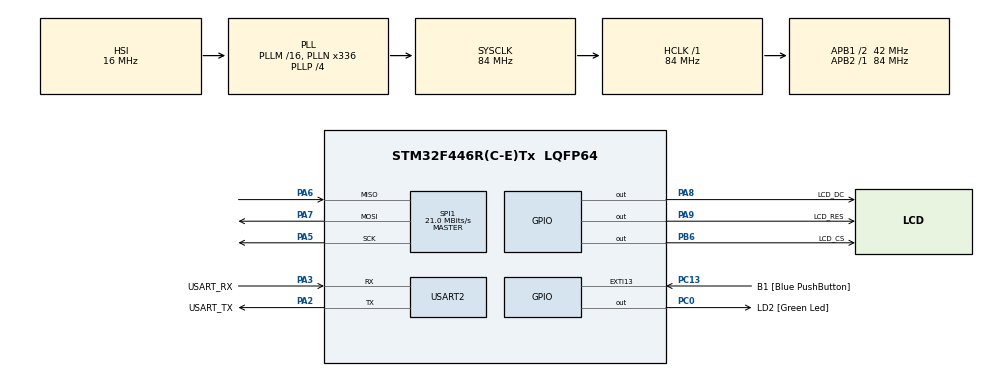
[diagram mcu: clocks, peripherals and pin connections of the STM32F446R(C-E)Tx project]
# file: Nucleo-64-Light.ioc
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Dma.Request0=SPI1_TX
Dma.SPI1_TX.0.Direction=DMA_MEMORY_TO_PERIPH
Dma.SPI1_TX.0.FIFOMode=DMA_FIFOMODE_DISABLE
Dma.SPI1_TX.0.Instance=DMA2_Stream3
Dma.SPI1_TX.0.MemDataAlignment=DMA_MDATAALIGN_BYTE
Dma.SPI1_TX.0.MemInc=DMA_MINC_ENABLE
Dma.SPI1_TX.0.Mode=DMA_NORMAL
Dma.SPI1_TX.0.PeriphDataAlignment=DMA_PDATAALIGN_BYTE
Dma.SPI1_TX.0.PeriphInc=DMA_PINC_DISABLE
Dma.SPI1_TX.0.Priority=DMA_PRIORITY_LOW
Mcu.Family=STM32F4
Mcu.Name=STM32F446R(C-E)Tx
Mcu.Package=LQFP64
NVIC.DMA2_Stream3_IRQn=true\:0\:0\:false\:false\:true\:false\:true\:true
NVIC.PriorityGroup=NVIC_PRIORITYGROUP_0
PA13.GPIO_Label=TMS
PA13.Mode=Serial_Wire
PA13.Signal=SYS_JTMS-SWDIO
PA14.GPIO_Label=TCK
PA14.Mode=Serial_Wire
PA14.Signal=SYS_JTCK-SWCLK
PA2.GPIO_Label=USART_TX
PA2.Mode=Asynchronous
PA2.Signal=USART2_TX
PA3.GPIO_Label=USART_RX
PA3.Mode=Asynchronous
PA3.Signal=USART2_RX
PA5.Mode=Full_Duplex_Master
PA5.Signal=SPI1_SCK
PA6.Mode=Full_Duplex_Master
PA6.Signal=SPI1_MISO
PA7.Mode=Full_Duplex_Master
PA7.Signal=SPI1_MOSI
PA8.GPIO_Label=LCD_DC
PA8.Signal=GPIO_Output
PA9.GPIO_Label=LCD_RES
PA9.Signal=GPIO_Output
PB3.GPIO_Label=SWO
PB3.Signal=SYS_JTDO-SWO
PB6.GPIO_Label=LCD_CS
PB6.Signal=GPIO_Output
PC0.GPIO_Label=LD2 [Green Led]
PC0.Signal=GPIO_Output
PC13.GPIO_Label=B1 [Blue PushButton]
PC13.GPIO_ModeDefaultEXTI=GPIO_MODE_IT_FALLING
PC13.Signal=GPXTI13
PC14-OSC32_IN.Mode=LSE-External-Oscillator
PC14-OSC32_IN.Signal=RCC_OSC32_IN
PC15-OSC32_OUT.Mode=LSE-External-Oscillator
PC15-OSC32_OUT.Signal=RCC_OSC32_OUT
PH0-OSC_IN.Mode=HSE-External-Oscillator
PH0-OSC_IN.Signal=RCC_OSC_IN
PH1-OSC_OUT.Mode=HSE-External-Oscillator
PH1-OSC_OUT.Signal=RCC_OSC_OUT
ProjectManager.HeapSize=0x200
ProjectManager.StackSize=0x400
ProjectManager.TargetToolchain=Makefile
RCC.48MHZClocksFreq_Value=84000000
RCC.AHBFreq_Value=84000000
RCC.APB1CLKDivider=RCC_HCLK_DIV2
RCC.APB1Freq_Value=42000000
RCC.APB1TimFreq_Value=84000000
RCC.APB2Freq_Value=84000000
RCC.APB2TimFreq_Value=84000000
RCC.CortexFreq_Value=84000000
RCC.FLatency-AdvancedSettings=FLASH_LATENCY_2
RCC.HCLKFreq_Value=84000000
RCC.HSE_VALUE=8000000
RCC.HSI_VALUE=16000000
RCC.PLLN=336
RCC.PLLP=RCC_PLLP_DIV4
RCC.SYSCLKFreq_VALUE=84000000
RCC.SYSCLKSource=RCC_SYSCLKSOURCE_PLLCLK
RCC.USBFreq_Value=168000000
RCC.VCOOutputFreq_Value=336000000
SPI1.BaudRatePrescaler=SPI_BAUDRATEPRESCALER_4
SPI1.CalculateBaudRate=21.0 MBits/s
SPI1.Direction=SPI_DIRECTION_2LINES
SPI1.Mode=SPI_MODE_MASTER
SPI1.VirtualType=VM_MASTER
USART2.VirtualMode=VM_ASYNC
board=NUCLEO-F446RE

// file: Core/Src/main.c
/* USER CODE BEGIN Header */
/**
  ******************************************************************************
  * @file           : main.c
  * @brief          : Main program body
  ******************************************************************************
  * @attention
  *
  * Copyright (c) 2026 STMicroelectronics.
  * All rights reserved.
  *
  * This software is licensed under terms that can be found in the LICENSE file
  * in the root directory of this software component.
  * If no LICENSE file comes with this software, it is provided AS-IS.
  *
  ******************************************************************************
  */
/* USER CODE END Header */
#include "main.h"

/* USER CODE BEGIN Includes */
#include "stm32f4xx_hal.h"
#include "lvgl.h"
#include "ili9341.h"
#include "fonts.h"
#include "ili9341_touch.h"
#include <stdio.h>
#include <string.h>

#include "screens/screen_home.h"

/* USER CODE END Includes */

/* USER CODE BEGIN PTD */

#define XPSR_INITIAL 0x01000000
#define STACK_SIZE 256  // Erhöht auf 1024 Bytes für printf-Sicherheit

/* Private function prototypes -----------------------------------------------*/
void SystemClock_Config(void);
static void MX_GPIO_Init(void);
static void MX_USART2_UART_Init(void);

extern void Start_OS(void);

TCB_t tasks[4];
TCB_t *currentTCB = NULL;
volatile uint8_t lvgl_is_initialized = 0;

/* Stacks mit 8-Byte Alignment */
uint32_t stackA[STACK_SIZE] __attribute__((aligned(8)));
uint32_t stackB[STACK_SIZE] __attribute__((aligned(8)));
static uint32_t stackIdle[128] __attribute__((aligned(8)));
static uint32_t stackDisplay[1024] __attribute__((aligned(8)));

/* --- LVGL Display Variablen --- */
static lv_disp_draw_buf_t draw_buf;
static lv_color_t buf[320 * 10]; // Puffer für 10 Zeilen des Displays (ca. 6.4 KB RAM)

/* USER CODE END PTD */

SPI_HandleTypeDef hspi1;
DMA_HandleTypeDef hdma_spi1_tx;

UART_HandleTypeDef huart2;

/* USER CODE BEGIN PV */

void OS_Delay(uint32_t ticks)
{
  __disable_irq();
  currentTCB->sleep_ticks = ticks;
  __enable_irq();

  SCB->ICSR |= SCB_ICSR_PENDSVSET_Msk;
}

void my_flush_cb(lv_disp_drv_t * disp_drv, const lv_area_t * area, lv_color_t * color_p) {
    // 1. Berechne Breite und Höhe des Bereichs
    uint16_t width = (area->x2 - area->x1 + 1);
    uint16_t height = (area->y2 - area->y1 + 1);

    // 2. Nutze die vorhandene Treiber-Funktion
    // Diese setzt das Fenster UND schickt die Daten via SPI
    ILI9341_DrawImage(area->x1, area->y1, width, height, (const uint16_t *)color_p);

    // 3. LVGL mitteilen, dass das Zeichnen fertig ist
    lv_disp_flush_ready(disp_drv);
}

static void SPI1_SetSpeed(uint32_t prescaler)
{
    /* SPI kurz deaktivieren, Prescaler ändern, wieder aktivieren */
    __HAL_SPI_DISABLE(&hspi1);
    hspi1.Instance->CR1 = (hspi1.Instance->CR1 & ~SPI_CR1_BR_Msk) | prescaler;
    __HAL_SPI_ENABLE(&hspi1);
}

void touch_lvgl_read(lv_indev_drv_t *drv, lv_indev_data_t *data)
{
    (void)drv;
    uint16_t x, y;

    /* Auf ~650 Kbit/s runterschalten (Prescaler 128 → 84MHz/128 = 656 Kbit/s) */
    SPI1_SetSpeed(SPI_CR1_BR_2 | SPI_CR1_BR_0); /* 0b111 = /256 → ~328 Kbit */

    if (ILI9341_TouchGetCoordinates(&x, &y)) {
        data->point.x = x;
        data->point.y = y;
        data->state   = LV_INDEV_STATE_PRESSED;

    } else {
        data->state = LV_INDEV_STATE_RELEASED;
    }

    /* Zurück auf Display-Geschwindigkeit (Prescaler 4 → 21 Mbit/s) */
    SPI1_SetSpeed(SPI_CR1_BR_0); /* 0b001 = /4 */
}

void TaskA(void);
void TaskB(void);
void Task_Idle(void) {
  while(1){
    __asm("WFI"); //go to power save mode
  }
}
void Task_Display(void){

    lv_disp_draw_buf_init(&draw_buf, buf, NULL, 320 * 10);

  // 3. Display-Treiber konfigurieren
    static lv_disp_drv_t disp_drv;          /* Statisch, da LVGL den Zeiger behält */
    lv_disp_drv_init(&disp_drv);            /* Basis-Werte setzen */
    disp_drv.draw_buf = &draw_buf;          /* Den Puffer zuweisen */
    disp_drv.flush_cb = my_flush_cb;        /* Deine SPI-Sende-Funktion */
    disp_drv.hor_res = 240;                 /* Breite deines ILI9341 */
    disp_drv.ver_res = 320;                 /* Höhe deines ILI9341 */

    lv_disp_drv_register(&disp_drv);        /* Den Treiber im System anmelden */

    static lv_indev_drv_t indev_drv;
    lv_indev_drv_init(&indev_drv);
    indev_drv.type    = LV_INDEV_TYPE_POINTER;
    indev_drv.read_cb = touch_lvgl_read;
    lv_indev_drv_register(&indev_drv);

    screen_home_init();

  while(1){
    lv_timer_handler();
    OS_Delay(5);
  }
}

/* --- Die saubere Prepare-Methode --- */
uint32_t* Prepare_Task_Stack(uint32_t *stack_top, void (*task_func)(void)) {
    // 1. Hardware Frame (wird vom PendSV-Handler automatisch gepoppt)
    stack_top[-1] = XPSR_INITIAL;                          // xPSR (Thumb-Bit)
    stack_top[-2] = ((uint32_t)task_func) | 0x01;        // PC (Task-Einstieg)
    stack_top[-3] = 0xFFFFFFFD;                          // LR (Wichtig für PendSV)
    stack_top[-4] = 0;                                   // R12
    stack_top[-5] = 0;                                   // R3
    stack_top[-6] = 0;                                   // R2
    stack_top[-7] = 0;                                   // R1
    stack_top[-8] = 0;                                   // R0

    // 2. Software Frame (wird von unserem Assembler-Code gepoppt)
    for(int i = -9; i >= -16; i--) {
        stack_top[i] = 0;                                // R11 bis R4
    }

    return &stack_top[-16]; // Zeiger auf R4 zurückgeben
}

void TaskSheduler(void) {
    int next_task = -1;
    int current_index = (currentTCB - &tasks[0]);

    for(int i = 1; i <=4; i++){
      int index = (current_index + i) % 4;
      if(tasks[index].sleep_ticks == 0) {
        next_task = index;
        break;
      }
    }

    if(next_task != -1) {
      currentTCB = &tasks[next_task];
    }
}

/* USER CODE END PV */

void SystemClock_Config(void);
static void MX_GPIO_Init(void);
static void MX_DMA_Init(void);
static void MX_USART2_UART_Init(void);
static void MX_SPI1_Init(void);

int main(void)
{

  /* USER CODE BEGIN 1 */
  /* FPU HARDWARE ABSCHALTEN */
  //SCB->CPACR &= ~((3UL << 10*2)|(3UL << 11*2));
  /* USER CODE END 1 */

  /* MCU Configuration--------------------------------------------------------*/

  /* Reset of all peripherals, Initializes the Flash interface and the Systick. */
  HAL_Init();

  /* Configure the system clock */
  SystemClock_Config();

  /* Initialize all configured peripherals */
  MX_GPIO_Init();
  MX_DMA_Init();
  MX_USART2_UART_Init();
  MX_SPI1_Init();
  /* USER CODE BEGIN 2 */
  ILI9341_Init();

  HAL_GPIO_WritePin(GPIOB, GPIO_PIN_6, GPIO_PIN_SET); // Display CS inaktiv
HAL_GPIO_WritePin(GPIOB, GPIO_PIN_7, GPIO_PIN_SET); // Touch CS inaktiv

  HAL_SYSTICK_Config(SystemCoreClock / 1000);

  HAL_NVIC_SetPriority(SysTick_IRQn, 0, 0);
  HAL_NVIC_SetPriority(PendSV_IRQn, 15, 0);

  tasks[0].sp = Prepare_Task_Stack(&stackA[STACK_SIZE], TaskA);
  tasks[1].sp = Prepare_Task_Stack(&stackB[STACK_SIZE], TaskB);
  tasks[2].sp = Prepare_Task_Stack(&stackIdle[128], Task_Idle);
  tasks[2].sleep_ticks = 0;

  tasks[3].sp = Prepare_Task_Stack(&stackDisplay[1024], Task_Display);
  tasks[3].sleep_ticks = 0;

  currentTCB = &tasks[0];

  lv_init();
  lvgl_is_initialized = 1;
  Start_OS();

  /* USER CODE END 2 */

  /* Infinite loop */
  while (1)
  {

    /* USER CODE BEGIN 3 */
     HAL_Delay(500);
  }
  /* USER CODE END 3 */
}

void SystemClock_Config(void)
{
  RCC_OscInitTypeDef RCC_OscInitStruct = {0};
  RCC_ClkInitTypeDef RCC_ClkInitStruct = {0};

  /** Configure the main internal regulator output voltage
  */
  __HAL_RCC_PWR_CLK_ENABLE();
  __HAL_PWR_VOLTAGESCALING_CONFIG(PWR_REGULATOR_VOLTAGE_SCALE3);

  /** Initializes the RCC Oscillators according to the specified parameters
  * in the RCC_OscInitTypeDef structure.
  */
  RCC_OscInitStruct.OscillatorType = RCC_OSCILLATORTYPE_HSI;
  RCC_OscInitStruct.HSIState = RCC_HSI_ON;
  RCC_OscInitStruct.HSICalibrationValue = RCC_HSICALIBRATION_DEFAULT;
  RCC_OscInitStruct.PLL.PLLState = RCC_PLL_ON;
  RCC_OscInitStruct.PLL.PLLSource = RCC_PLLSOURCE_HSI;
  RCC_OscInitStruct.PLL.PLLM = 16;
  RCC_OscInitStruct.PLL.PLLN = 336;
  RCC_OscInitStruct.PLL.PLLP = RCC_PLLP_DIV4;
  RCC_OscInitStruct.PLL.PLLQ = 2;
  RCC_OscInitStruct.PLL.PLLR = 2;
  if (HAL_RCC_OscConfig(&RCC_OscInitStruct) != HAL_OK)
  {
    Error_Handler();
  }

  /** Initializes the CPU, AHB and APB buses clocks
  */
  RCC_ClkInitStruct.ClockType = RCC_CLOCKTYPE_HCLK|RCC_CLOCKTYPE_SYSCLK
                              |RCC_CLOCKTYPE_PCLK1|RCC_CLOCKTYPE_PCLK2;
  RCC_ClkInitStruct.SYSCLKSource = RCC_SYSCLKSOURCE_PLLCLK;
  RCC_ClkInitStruct.AHBCLKDivider = RCC_SYSCLK_DIV1;
  RCC_ClkInitStruct.APB1CLKDivider = RCC_HCLK_DIV2;
  RCC_ClkInitStruct.APB2CLKDivider = RCC_HCLK_DIV1;

  if (HAL_RCC_ClockConfig(&RCC_ClkInitStruct, FLASH_LATENCY_2) != HAL_OK)
  {
    Error_Handler();
  }
}

static void MX_SPI1_Init(void)
{

  /* SPI1 parameter configuration*/
  hspi1.Instance = SPI1;
  hspi1.Init.Mode = SPI_MODE_MASTER;
  hspi1.Init.Direction = SPI_DIRECTION_2LINES;
  hspi1.Init.DataSize = SPI_DATASIZE_8BIT;
  hspi1.Init.CLKPolarity = SPI_POLARITY_LOW;
  hspi1.Init.CLKPhase = SPI_PHASE_1EDGE;
  hspi1.Init.NSS = SPI_NSS_SOFT;
  hspi1.Init.BaudRatePrescaler = SPI_BAUDRATEPRESCALER_4;
  hspi1.Init.FirstBit = SPI_FIRSTBIT_MSB;
  hspi1.Init.TIMode = SPI_TIMODE_DISABLE;
  hspi1.Init.CRCCalculation = SPI_CRCCALCULATION_DISABLE;
  hspi1.Init.CRCPolynomial = 10;
  if (HAL_SPI_Init(&hspi1) != HAL_OK)
  {
    Error_Handler();
  }

}

static void MX_USART2_UART_Init(void)
{

  huart2.Instance = USART2;
  huart2.Init.BaudRate = 115200;
  huart2.Init.WordLength = UART_WORDLENGTH_8B;
  huart2.Init.StopBits = UART_STOPBITS_1;
  huart2.Init.Parity = UART_PARITY_NONE;
  huart2.Init.Mode = UART_MODE_TX_RX;
  huart2.Init.HwFlowCtl = UART_HWCONTROL_NONE;
  huart2.Init.OverSampling = UART_OVERSAMPLING_16;
  if (HAL_UART_Init(&huart2) != HAL_OK)
  {
    Error_Handler();
  }

}

static void MX_DMA_Init(void)
{

  /* DMA controller clock enable */
  __HAL_RCC_DMA2_CLK_ENABLE();

  /* DMA interrupt init */
  /* DMA2_Stream3_IRQn interrupt configuration */
  HAL_NVIC_SetPriority(DMA2_Stream3_IRQn, 0, 0);
  HAL_NVIC_EnableIRQ(DMA2_Stream3_IRQn);

}

static void MX_GPIO_Init(void)
{
  GPIO_InitTypeDef GPIO_InitStruct = {0};

  /* GPIO Ports Clock Enable */
  __HAL_RCC_GPIOC_CLK_ENABLE();
  __HAL_RCC_GPIOH_CLK_ENABLE();
  __HAL_RCC_GPIOA_CLK_ENABLE();
  __HAL_RCC_GPIOB_CLK_ENABLE();

  /*Configure GPIO pin Output Level */
  HAL_GPIO_WritePin(LD2_GPIO_Port, LD2_Pin, GPIO_PIN_RESET);

  /*Configure GPIO pin Output Level */
  HAL_GPIO_WritePin(GPIOA, LCD_DC_Pin|LCD_RES_Pin, GPIO_PIN_RESET);

  /*Configure GPIO pin Output Level */
  HAL_GPIO_WritePin(LCD_CS_GPIO_Port, LCD_CS_Pin, GPIO_PIN_RESET);

  /*Configure GPIO pin : B1_Pin */
  GPIO_InitStruct.Pin = B1_Pin;
  GPIO_InitStruct.Mode = GPIO_MODE_IT_FALLING;
  GPIO_InitStruct.Pull = GPIO_NOPULL;
  HAL_GPIO_Init(B1_GPIO_Port, &GPIO_InitStruct);

  /*Configure GPIO pin : LD2_Pin */
  GPIO_InitStruct.Pin = LD2_Pin;
  GPIO_InitStruct.Mode = GPIO_MODE_OUTPUT_PP;
  GPIO_InitStruct.Pull = GPIO_NOPULL;
  GPIO_InitStruct.Speed = GPIO_SPEED_FREQ_LOW;
  HAL_GPIO_Init(LD2_GPIO_Port, &GPIO_InitStruct);

  /*Configure GPIO pins : LCD_DC_Pin LCD_RES_Pin */
  GPIO_InitStruct.Pin = LCD_DC_Pin|LCD_RES_Pin;
  GPIO_InitStruct.Mode = GPIO_MODE_OUTPUT_PP;
  GPIO_InitStruct.Pull = GPIO_NOPULL;
  GPIO_InitStruct.Speed = GPIO_SPEED_FREQ_LOW;
  HAL_GPIO_Init(GPIOA, &GPIO_InitStruct);

  /*Configure GPIO pin : LCD_CS_Pin */
  GPIO_InitStruct.Pin = LCD_CS_Pin;
  GPIO_InitStruct.Mode = GPIO_MODE_OUTPUT_PP;
  GPIO_InitStruct.Pull = GPIO_NOPULL;
  GPIO_InitStruct.Speed = GPIO_SPEED_FREQ_LOW;
  HAL_GPIO_Init(LCD_CS_GPIO_Port, &GPIO_InitStruct);

  /* USER CODE BEGIN MX_GPIO_Init_2 */
  // T_CS → PB7 als Output
  GPIO_InitStruct.Pin = TOUCH_CS_Pin;
  GPIO_InitStruct.Mode = GPIO_MODE_OUTPUT_PP;
  GPIO_InitStruct.Pull = GPIO_NOPULL;
  GPIO_InitStruct.Speed = GPIO_SPEED_FREQ_LOW;
  HAL_GPIO_Init(TOUCH_CS_GPIO_Port, &GPIO_InitStruct);
  HAL_GPIO_WritePin(TOUCH_CS_GPIO_Port, TOUCH_CS_Pin, GPIO_PIN_SET); // CS idle HIGH

  // T_IRQ → PC7 als Input
  GPIO_InitStruct.Pin = TOUCH_IRQ_Pin;
  GPIO_InitStruct.Mode = GPIO_MODE_INPUT;
  GPIO_InitStruct.Pull = GPIO_PULLUP;
  HAL_GPIO_Init(TOUCH_IRQ_GPIO_Port, &GPIO_InitStruct);

  /* USER CODE END MX_GPIO_Init_2 */
}

/* USER CODE BEGIN 4 */

void TaskA(void)
{
    while(1) {
      OS_Delay(1000);
    }
}

void TaskB(void)
{
    while(1) {
      OS_Delay(500);
    }
}

/* USER CODE END 4 */

void Error_Handler(void)
{
  __disable_irq();
  while (1)
  {
  }
}
